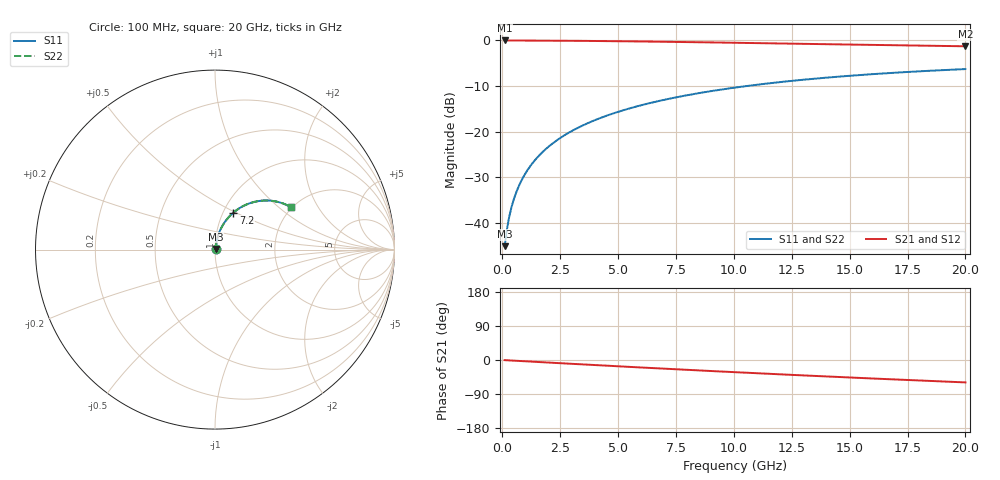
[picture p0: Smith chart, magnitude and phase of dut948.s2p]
! Touchstone file exported from HFSS 2026.1.0
!  File:  C:/ffzhzh/LocalFiles/Ansys_Project_Files/temp_train_BSMRDL_948_1783172197_43440.aedt
!  Generated:  09:38:00 PM Jul  4, 2026
!  Design:  BSMRDL
!  Project:  temp_train_BSMRDL_948_1783172197_43440
! Variables:
!  h_bsmrdl = 4.54um
!  h_ox = 20um
!  h_rdl = 5um
!  h_sub = 80um
!  h_tmrdl = 5um
!  h_tsv = 80um
!  h_via = 3um
!  l_bsmrdl = 939.69um
!  l_sub = 1339.69um
!  l_tmrdl = 200um
!  m_sub = 200um
!  pitch = 43.33um
!  r_tsv = 6um
!  s_tmrdl = 10um
!  w_bsmrdl = 18.03um
!  w_sub = 500um
!  w_tmrdl = 12um
!  x_tsv_center1 = 206um
!  x_tsv_center2 = 1163.72um
!  x_tsv_center3 = 1375.72um
!  x_tsv_center4 = 2333.44um
!  x_tsv_center5 = 2545.44um
!  x_tsv_center6 = 3503.16um
# GHz S MA R 50.000000
! Terminal data exported
! Port[1] = BSM_RDL1_1_T1
! Port[2] = BSM_RDL1_1_T2
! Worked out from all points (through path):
!   200 points, 100 MHz to 20 GHz, reference 50 ohm
!   highest |S21| = -0.04 dB at 100 MHz (marker M1); lowest = -1.3 dB at 20 GHz (marker M2)
!   group delay of S21, straight-line fit = 8.2 ps
!   lowest |S11| = -45.0 dB at 100 MHz (marker M3), VSWR 1.01, Z = 50.4 + j0.374 ohm
!   |S11| at or under -10 dB: start of sweep to 10.56 GHz
!   |S22| runs from -45.0 to -6.3 dB; largest |S21 - S12| = 2.7e-15
!   S11 on the Smith chart (normalised r, x): 100 MHz: 1.01, +0.01; 7.2 GHz: 1.12, +0.48; 20 GHz: 1.97, +1.21
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0.1  0.005603 41.4  0.9958 -0.4  0.9958 -0.4  0.005603 41.4
! Gamma 0 0 0 0
! Port Impedance 50 0 50 0
0.2  0.008549 58.5  0.9956 -0.7  0.9956 -0.7  0.008549 58.5
0.3  0.01177 66.1  0.9954 -1.0  0.9954 -1.0  0.01177 66.1
0.4  0.01504 70.3  0.9952 -1.4  0.9952 -1.4  0.01504 70.3
0.5  0.01833 72.9  0.995 -1.7  0.995 -1.7  0.01833 72.9
0.6  0.02165 74.7  0.9948 -2.1  0.9948 -2.1  0.02165 74.7
0.8  0.02833 76.9  0.9945 -2.7  0.9945 -2.7  0.02833 76.9
1.1  0.03843 78.3  0.994 -3.7  0.994 -3.7  0.03843 78.3
1.5  0.05191 78.7  0.9931 -5.1  0.9931 -5.1  0.05191 78.7
1.8  0.062 78.5  0.9923 -6.1  0.9923 -6.1  0.062 78.5
2.1  0.07205 78.1  0.9913 -7.1  0.9913 -7.1  0.07204 78.1
2.7  0.09194 76.7  0.9891 -9.1  0.9891 -9.1  0.09194 76.7
3.5  0.118 74.6  0.9855 -11.7  0.9855 -11.7  0.118 74.6
4.2  0.1402 72.6  0.9818 -14.0  0.9818 -14.0  0.1402 72.6
5  0.1649 70.2  0.9772 -16.6  0.9772 -16.6  0.1649 70.2
6.8  0.218 64.8  0.9651 -22.3  0.9651 -22.3  0.218 64.8
7.2  0.2292 63.6  0.9622 -23.5  0.9622 -23.5  0.2292 63.7
8.6  0.2672 59.6  0.9515 -27.8  0.9515 -27.8  0.2672 59.6
10.1  0.3051 55.2  0.9393 -32.3  0.9393 -32.3  0.3051 55.3
13.4  0.3785 46.1  0.9114 -41.8  0.9114 -41.8  0.3785 46.1
16.7  0.438 37.4  0.8843 -50.7  0.8843 -50.7  0.438 37.5
20  0.4843 29.2  0.8601 -59.1  0.8601 -59.1  0.4842 29.3
